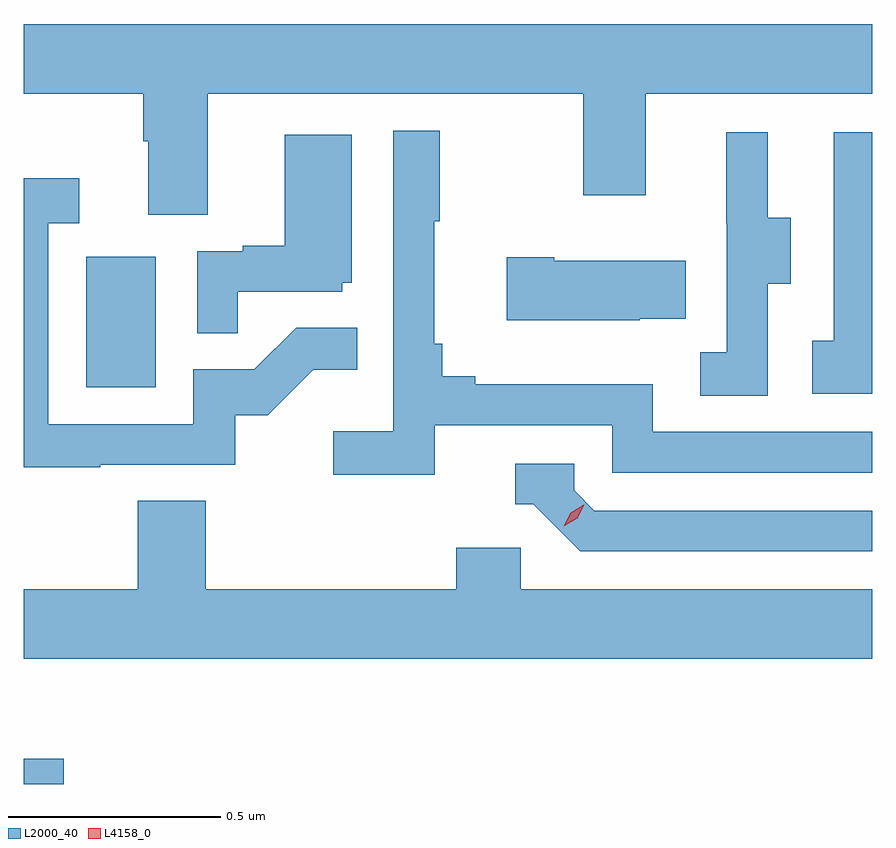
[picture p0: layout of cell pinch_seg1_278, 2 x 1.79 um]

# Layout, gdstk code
import gdstk
lib = gdstk.Library(unit=1e-6, precision=1e-09)
def R(c, l, rs):  # rectangles x0, y0, x1, y1
    for r in rs: c.add(gdstk.rectangle(r[:2], r[2:], *l))
def P(c, l, *ps):  # polygons
    for p in ps: c.add(gdstk.Polygon(p, *l))
L2000_40 = (2000, 40)
L4158_0 = (4158, 0)

pinch_seg1_278 = lib.new_cell('pinch_seg1_278')
R(pinch_seg1_278, L2000_40, [(909.539,543.445,909.634,543.505), (909.686,544.38,909.85,544.687)])
P(pinch_seg1_278, L2000_40, [(909.973,545.072),(910.858,545.072),(910.858,544.833),(911.005,544.833),(911.005,545.072),(911.539,545.072),(911.539,545.236),(909.539,545.236),(909.539,545.072),(909.821,545.072),(909.821,544.96),(909.833,544.96),(909.833,544.786),(909.973,544.786)],
  [(910.508,544.29),(910.926,544.29),(910.926,544.179),(911.539,544.179),(911.539,544.275),(911.022,544.275),(911.022,544.387),(910.603,544.387),(910.603,544.406),(910.526,544.406),(910.526,544.483),(910.507,544.483),(910.507,544.771),(910.519,544.771),(910.519,544.984),(910.41,544.984),(910.41,544.276),(910.269,544.276),(910.269,544.174),(910.508,544.174)],
  [(911.539,544.981),(911.448,544.981),(911.448,544.49),(911.397,544.49),(911.397,544.365),(911.539,544.365)],
  [(911.292,544.624),(911.347,544.624),(911.347,544.779),(911.293,544.779),(911.293,544.981),(911.195,544.981),(911.195,544.767),(911.196,544.767),(911.196,544.463),(911.133,544.463),(911.133,544.36),(911.292,544.36)],
  [(910.043,544.605),(910.29,544.605),(910.29,544.626),(910.312,544.626),(910.312,544.975),(910.154,544.975),(910.154,544.714),(910.055,544.714),(910.055,544.701),(909.948,544.701),(909.948,544.507),(910.043,544.507)],
  [(909.719,544.197),(910.038,544.197),(910.038,544.314),(910.114,544.314),(910.221,544.421),(910.325,544.421),(910.325,544.52),(910.181,544.52),(910.083,544.422),(909.939,544.422),(909.939,544.293),(909.597,544.293),(909.597,544.767),(909.67,544.767),(909.67,544.873),(909.539,544.873),(909.539,544.192),(909.719,544.192)],
  [(910.991,544.541),(911.099,544.541),(911.099,544.678),(910.789,544.678),(910.789,544.686),(910.677,544.686),(910.677,544.538),(910.991,544.538)],
  [(911.539,544.089),(910.884,544.089),(910.836,544.137),(910.836,544.2),(910.697,544.2),(910.697,544.104),(910.74,544.104),(910.851,543.993),(911.539,543.993)],
  [(911.539,543.904),(910.71,543.904),(910.71,544.002),(910.559,544.002),(910.559,543.904),(909.968,543.904),(909.968,544.112),(909.808,544.112),(909.808,543.904),(909.539,543.904),(909.539,543.74),(911.539,543.74)])
P(pinch_seg1_278, L4158_0, [(910.812,544.052),(910.812,544.052),(910.828,544.084),(910.859,544.103),(910.86,544.103),(910.86,544.103),(910.843,544.071),(910.812,544.052)])

lib.write_gds('pinch_seg1_278.gds')
